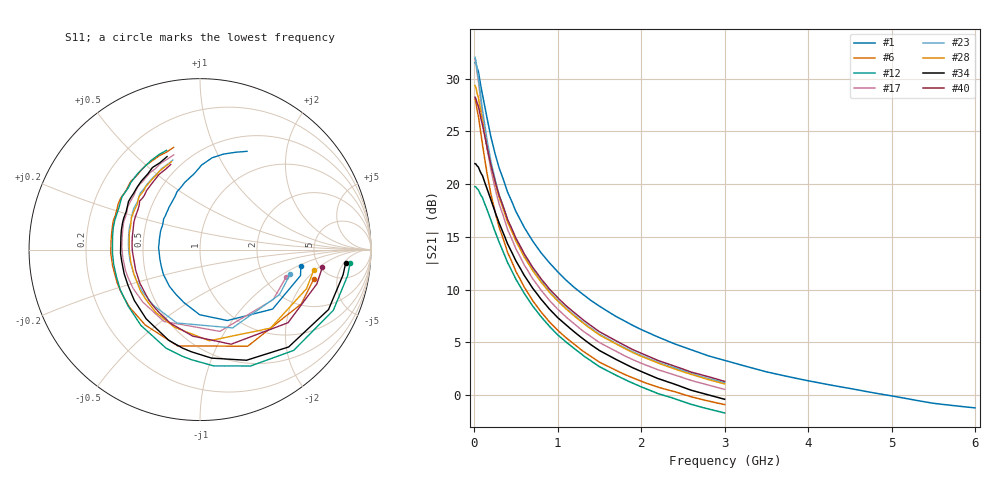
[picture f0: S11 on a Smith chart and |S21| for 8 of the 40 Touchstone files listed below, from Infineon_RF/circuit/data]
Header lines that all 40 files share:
! Infineon Technologies  Discrete & RF Semiconductors
# GHz  S  MA  R  50
!  f  S11  S21  S12  S22
! GHz  MAG  ANG  MAG  ANG  MAG  ANG  MAG  ANG
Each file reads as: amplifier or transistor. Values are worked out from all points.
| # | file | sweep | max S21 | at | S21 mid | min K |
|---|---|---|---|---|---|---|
| 1 | BFR92P_VCE_8.0V_IC_25mA.s2p | 10 MHz to 6 GHz | 31.5 dB | 20 MHz | 5.5 dB at 2.2 GHz | 0.12 |
| 2 | BFR93A_VCE_0.50V_IC_2.0mA.s2p | 10 MHz to 3 GHz | 16.5 dB | 10 MHz | 2.1 dB at 1.22 GHz | 0.02 |
| 3 | BFR93A_VCE_0.50V_IC_4.0mA.s2p | 10 MHz to 3 GHz | 21.9 dB | 10 MHz | 3.7 dB at 1.22 GHz | 0.06 |
| 4 | BFR93A_VCE_0.50V_IC_6.0mA.s2p | 10 MHz to 3 GHz | 24.9 dB | 10 MHz | 4.3 dB at 1.22 GHz | 0.09 |
| 5 | BFR93A_VCE_0.50V_IC_8.0mA.s2p | 10 MHz to 3 GHz | 26.8 dB | 10 MHz | 4.6 dB at 1.22 GHz | 0.11 |
| 6 | BFR93A_VCE_0.50V_IC_10mA.s2p | 10 MHz to 3 GHz | 28.1 dB | 10 MHz | 4.7 dB at 1.22 GHz | 0.14 |
| 7 | BFR93A_VCE_0.50V_IC_12mA.s2p | 10 MHz to 3 GHz | 29.0 dB | 10 MHz | 4.7 dB at 1.22 GHz | 0.16 |
| 8 | BFR93A_VCE_0.50V_IC_20mA.s2p | 10 MHz to 3 GHz | 30.6 dB | 10 MHz | 4.2 dB at 1.22 GHz | 0.26 |
| 9 | BFR93A_VCE_0.75V_IC_12mA.s2p | 10 MHz to 3 GHz | 29.3 dB | 10 MHz | 5.8 dB at 1.22 GHz | 0.15 |
| 10 | BFR93A_VCE_0.75V_IC_15mA.s2p | 10 MHz to 3 GHz | 30.5 dB | 10 MHz | 5.9 dB at 1.22 GHz | 0.18 |
| 11 | BFR93A_VCE_0.75V_IC_20mA.s2p | 10 MHz to 3 GHz | 31.8 dB | 10 MHz | 5.9 dB at 1.22 GHz | 0.23 |
| 12 | BFR93A_VCE_1.0V_IC_3.0mA.s2p | 10 MHz to 3 GHz | 19.8 dB | 10 MHz | 4.3 dB at 1.22 GHz | 0.04 |
| 13 | BFR93A_VCE_1.0V_IC_5.0mA.s2p | 10 MHz to 3 GHz | 23.6 dB | 10 MHz | 5.4 dB at 1.22 GHz | 0.07 |
| 14 | BFR93A_VCE_1.0V_IC_6.0mA.s2p | 10 MHz to 3 GHz | 24.9 dB | 10 MHz | 5.7 dB at 1.22 GHz | 0.09 |
| 15 | BFR93A_VCE_1.0V_IC_10mA.s2p | 10 MHz to 3 GHz | 28.2 dB | 10 MHz | 6.3 dB at 1.22 GHz | 0.14 |
| 16 | BFR93A_VCE_1.0V_IC_12mA.s2p | 10 MHz to 3 GHz | 29.3 dB | 10 MHz | 6.4 dB at 1.22 GHz | 0.15 |
| 17 | BFR93A_VCE_1.0V_IC_20mA.s2p | 10 MHz to 3 GHz | 31.9 dB | 10 MHz | 6.6 dB at 1.22 GHz | 0.22 |
| 18 | BFR93A_VCE_1.0V_IC_25mA.s2p | 10 MHz to 3 GHz | 32.8 dB | 10 MHz | 6.6 dB at 1.22 GHz | 0.26 |
| 19 | BFR93A_VCE_1.5V_IC_4.0mA.s2p | 10 MHz to 3 GHz | 21.9 dB | 10 MHz | 5.5 dB at 1.22 GHz | 0.05 |
| 20 | BFR93A_VCE_1.5V_IC_5.0mA.s2p | 10 MHz to 3 GHz | 23.7 dB | 10 MHz | 6.0 dB at 1.22 GHz | 0.07 |
| 21 | BFR93A_VCE_1.5V_IC_6.0mA.s2p | 10 MHz to 3 GHz | 24.9 dB | 10 MHz | 6.3 dB at 1.22 GHz | 0.08 |
| 22 | BFR93A_VCE_1.5V_IC_8.0mA.s2p | 10 MHz to 3 GHz | 26.9 dB | 10 MHz | 6.7 dB at 1.22 GHz | 0.11 |
| 23 | BFR93A_VCE_1.5V_IC_20mA.s2p | 10 MHz to 3 GHz | 32.0 dB | 10 MHz | 7.4 dB at 1.22 GHz | 0.21 |
| 24 | BFR93A_VCE_1.7V_IC_3.0mA.s2p | 10 MHz to 3 GHz | 19.8 dB | 10 MHz | 5.0 dB at 1.22 GHz | 0.05 |
| 25 | BFR93A_VCE_1.7V_IC_4.0mA.s2p | 10 MHz to 3 GHz | 22.0 dB | 10 MHz | 5.7 dB at 1.22 GHz | 0.05 |
| 26 | BFR93A_VCE_1.7V_IC_5.0mA.s2p | 10 MHz to 3 GHz | 23.6 dB | 10 MHz | 6.2 dB at 1.22 GHz | 0.08 |
| 27 | BFR93A_VCE_1.7V_IC_6.0mA.s2p | 10 MHz to 3 GHz | 24.9 dB | 10 MHz | 6.5 dB at 1.22 GHz | 0.08 |
| 28 | BFR93A_VCE_1.7V_IC_12mA.s2p | 10 MHz to 3 GHz | 29.4 dB | 10 MHz | 7.4 dB at 1.22 GHz | 0.13 |
| 29 | BFR93A_VCE_1.7V_IC_15mA.s2p | 10 MHz to 3 GHz | 30.6 dB | 10 MHz | 7.6 dB at 1.22 GHz | 0.18 |
| 30 | BFR93A_VCE_1.7V_IC_20mA.s2p | 10 MHz to 3 GHz | 32.1 dB | 10 MHz | 7.7 dB at 1.22 GHz | 0.21 |
| 31 | BFR93A_VCE_1.7V_IC_25mA.s2p | 10 MHz to 3 GHz | 33.0 dB | 10 MHz | 7.8 dB at 1.22 GHz | 0.24 |
| 32 | BFR93A_VCE_1.7V_IC_30mA.s2p | 10 MHz to 3 GHz | 33.7 dB | 10 MHz | 7.7 dB at 1.22 GHz | 0.28 |
| 33 | BFR93A_VCE_2.0V_IC_3.0mA.s2p | 10 MHz to 3 GHz | 19.8 dB | 10 MHz | 5.1 dB at 1.22 GHz | 0.05 |
| 34 | BFR93A_VCE_2.0V_IC_4.0mA.s2p | 10 MHz to 3 GHz | 22.0 dB | 10 MHz | 5.9 dB at 1.22 GHz | 0.07 |
| 35 | BFR93A_VCE_2.0V_IC_8.0mA.s2p | 10 MHz to 3 GHz | 26.9 dB | 10 MHz | 7.1 dB at 1.22 GHz | 0.11 |
| 36 | BFR93A_VCE_2.0V_IC_30mA.s2p | 10 MHz to 3 GHz | 33.7 dB | 10 MHz | 8.0 dB at 1.22 GHz | 0.27 |
| 37 | BFR93A_VCE_2.5V_IC_2.0mA.s2p | 10 MHz to 3 GHz | 16.5 dB | 20 MHz | 4.1 dB at 1.22 GHz | 0.03 |
| 38 | BFR93A_VCE_2.5V_IC_4.0mA.s2p | 10 MHz to 3 GHz | 21.9 dB | 10 MHz | 6.1 dB at 1.22 GHz | 0.06 |
| 39 | BFR93A_VCE_2.5V_IC_5.0mA.s2p | 10 MHz to 3 GHz | 23.6 dB | 10 MHz | 6.6 dB at 1.22 GHz | 0.07 |
| 40 | BFR93A_VCE_2.5V_IC_10mA.s2p | 10 MHz to 3 GHz | 28.3 dB | 10 MHz | 7.7 dB at 1.22 GHz | 0.12 |

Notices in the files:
2_Circuitos/LNA/simulaciones/Infineon_RF/circuit/data/BFR92P_VCE_8.0V_IC_25mA.s2p:
(c) 2014  Infineon Technologies AG, Munich
2_Circuitos/LNA/simulaciones/Infineon_RF/circuit/data/BFR93A_VCE_0.50V_IC_10mA.s2p:
(c) 2015  Infineon Technologies AG, Munich
